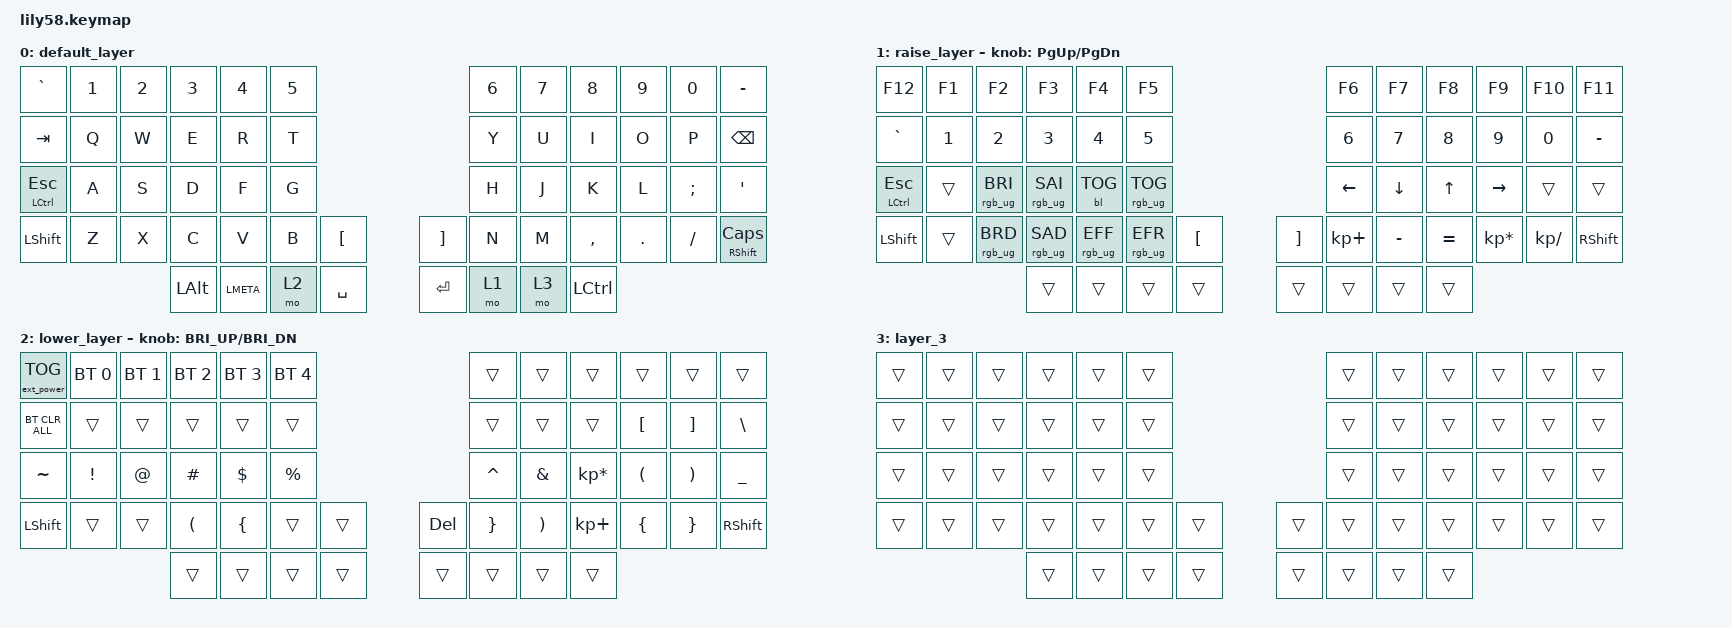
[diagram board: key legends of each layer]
/*
 * Copyright (c) 2020 The ZMK Contributors
 *
 * SPDX-License-Identifier: MIT
 */

#include <behaviors.dtsi>
#include <dt-bindings/zmk/backlight.h>
#include <dt-bindings/zmk/bt.h>
#include <dt-bindings/zmk/ext_power.h>
#include <dt-bindings/zmk/keys.h>
#include <dt-bindings/zmk/mouse.h>
#include <dt-bindings/zmk/rgb.h>

/ {
    // Combo keys are a way to combine multiple keypresses to output a different key.

    combos {
        compatible = "zmk,combos";

        combo_clear_bluetooth {
            timeout-ms = <50>; // Press all the below keys within 50ms to activate mapping
            key-positions = <52 42 0>; // Press 52=LOWER, 42=[, 0=tilde
            bindings = <&bt BT_CLR>; // activate clear bluetooth bindings for current channel
        };

        mouseclick {
            bindings = <&mkp MB1>;
            key-positions = <6 7>;
        };

        rightclick {
            bindings = <&mkp RCLK>;
            key-positions = <18 19>;
        };

        scrollup {
            bindings = <&kp K_SCROLL_UP>;
            key-positions = <6 18>;
        };

        scrolldown {
            bindings = <&kp K_SCROLL_DOWN>;
            key-positions = <19 7>;
        };
    };

    keymap {
        compatible = "zmk,keymap";

        default_layer {
            // ------------------------------------------------------------------------------------------------------------
            // |   `      |  1  |  2  |  3   |  4   |  5   |                   |  6   |  7    |  8    |  9   |   0   |  ENC  |
            // |  TAB     |  Q  |  W  |  E   |  R   |  T   |                   |  Y   |  U    |  I    |  O   |   P   |   =   |
            // |hCTRL tESC|  A  |  S  |  D   |  F   |  G   |                   |  H   |  J    |  K    |  L   |   ;   |   '   |
            // | SHIFT    |  Z  |  X  |  C   |  V   |  B   |   "["  |  |  "]"  |  N   |  M    |  ,    |  .   |   /   | SHIFT |
            //                        | ALT  | GUI  | LOWER|  SPACE |  | BSPC  | ENTER| RAISE | CTRL  |

            bindings = <
&kp GRAVE      &kp N1  &kp N2  &kp N3    &kp N4     &kp N5                                         &kp N6  &kp N7  &kp N8            &kp N9   &kp N0    &kp MINUS
&kp TAB        &kp Q   &kp W   &kp E     &kp R      &kp T                                          &kp Y   &kp U   &kp I             &kp O    &kp P     &kp BACKSPACE
&mt LCTRL ESC  &kp A   &kp S   &kp D     &kp F      &kp G                                          &kp H   &kp J   &kp K             &kp L    &kp SEMI  &kp SQT
&kp LSHFT      &kp Z   &kp X   &kp C     &kp V      &kp B   &kp LEFT_BRACKET    &kp RIGHT_BRACKET  &kp N   &kp M   &kp COMMA         &kp DOT  &kp FSLH  &mt RSHFT CAPS
                               &kp LALT  &kp LMETA  &mo 2   &kp SPACE           &kp ENTER          &mo 1   &mo 3   &kp LEFT_CONTROL
            >;
        };

        raise_layer {
            // ------------------------------------------------------------------------------------------------------------
            // |  F12    |  F1 |  F2 |  F3  |  F4  |  F5  |                   |  F6  |   F7  |   F8  |  F9  |  F10  |  F11  |
            // |   `     |  1  |  2  |  3   |  4   |  5   |                   |  6   |   7   |   8   |  9   |   0   |   -   |
            // |CTRL/ESC |     |     |      |      |      |                   |  <-  |   ^   |   v   |  ->  |       |       |
            // | SHIFT   |     |     |      |      |      |        |  |       |  +   |   -   |   =   |  [   |   ]   |   \   |
            //                       |      |      |      |        |  |       |      |       |       |

            bindings = <
&kp F12        &kp F1  &kp F2           &kp F3           &kp F4           &kp F5                                                  &kp F6       &kp F7     &kp F8     &kp F9           &kp F10        &kp F11
&kp GRAVE      &kp N1  &kp N2           &kp N3           &kp N4           &kp N5                                                  &kp N6       &kp N7     &kp N8     &kp N9           &kp N0         &kp MINUS
&mt LCTRL ESC  &trans  &rgb_ug RGB_BRI  &rgb_ug RGB_SAI  &bl BL_TOG       &rgb_ug RGB_TOG                                         &kp LEFT     &kp DOWN   &kp UP     &kp RIGHT        &trans         &trans
&kp LSHIFT     &trans  &rgb_ug RGB_BRD  &rgb_ug RGB_SAD  &rgb_ug RGB_EFF  &rgb_ug RGB_EFR  &kp LEFT_BRACKET    &kp RIGHT_BRACKET  &kp KP_PLUS  &kp MINUS  &kp EQUAL  &kp KP_ASTERISK  &kp KP_DIVIDE  &kp RIGHT_SHIFT
                                        &trans           &trans           &trans           &trans              &trans             &trans       &trans     &trans
            >;

            sensor-bindings = <&inc_dec_kp PG_UP PG_DN>;
        };

        lower_layer {
            // ------------------------------------------------------------------------------------------------------------
            // | EXT PWR TOGGLE | BT1     | BT2    |  BT3 |  BT4  |  BT5 |                    |      |       |       |      |       |       |
            // |                |         |        |      |       |      |                    |      |       |       |      |       |   \   |
            // |   ~            |  !      |  @     |  #   |  $    |  %   |                    |  ^   |  &    |  *    |  (   |   )   |   _   |
            // | SHIFT          |  EP_ON  | EP_OFF |      |  (    |  {   |       |  |   DEL   |  }   |  )    |  +    |  {   |   }   | SHIFT |
            //                                     |      |       |      |       |  |         |      |       |       |

            bindings = <
&ext_power EP_TOG  &bt BT_SEL 0  &bt BT_SEL 1  &bt BT_SEL 2  &bt BT_SEL 3  &bt BT_SEL 4                     &trans     &trans    &trans           &trans            &trans             &trans
&bt BT_CLR_ALL     &trans        &trans        &trans        &trans        &trans                           &trans     &trans    &trans           &kp LEFT_BRACKET  &kp RIGHT_BRACKET  &kp BSLH
&kp TILDE          &kp EXCL      &kp AT        &kp HASH      &kp DOLLAR    &kp PRCNT                        &kp CARET  &kp AMPS  &kp KP_MULTIPLY  &kp LPAR          &kp RPAR           &kp UNDER
&kp LSHIFT         &trans        &trans        &kp LPAR      &kp LBRC      &trans        &trans    &kp DEL  &kp RBRC   &kp RPAR  &kp KP_PLUS      &kp LBRC          &kp RBRC           &kp RSHFT
                                               &trans        &trans        &trans        &trans    &trans   &trans     &trans    &trans
            >;

            sensor-bindings = <&inc_dec_kp C_BRI_UP C_BRI_DN>;
        };

        layer_3 {
            bindings = <
&trans  &trans  &trans  &trans  &trans  &trans                    &trans  &trans  &trans  &trans  &trans  &trans
&trans  &trans  &trans  &trans  &trans  &trans                    &trans  &trans  &trans  &trans  &trans  &trans
&trans  &trans  &trans  &trans  &trans  &trans                    &trans  &trans  &trans  &trans  &trans  &trans
&trans  &trans  &trans  &trans  &trans  &trans  &trans    &trans  &trans  &trans  &trans  &trans  &trans  &trans
                        &trans  &trans  &trans  &trans    &trans  &trans  &trans  &trans
            >;
        };
    };
};
